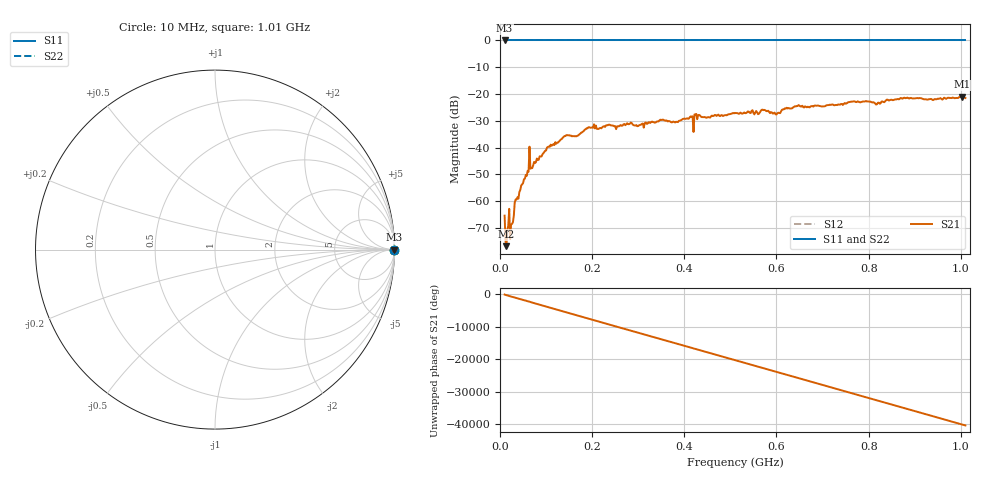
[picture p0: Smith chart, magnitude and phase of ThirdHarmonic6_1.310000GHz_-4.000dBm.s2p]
! 8/16/2025 2:28:42 PM
! C:\ANRITSUVNA\TEMP\TEMP.S2P
! CHANNEL.1
! TR.MEASUREMENT
! RAW.DATA
! RF.CORRECTION.OFF
! AVERAGING.OFF
! IF.BANDWIDTH: 5KHZ
! SWEEPTYPE:  FREQ.SWEEP(Linear)
! Reference Plane Port Info
! PORT:  PORT1  PORT2
! DISTANCE:  0  m  0  m
! TIME:  0  s  0  s
! PHASE.OFFSET:  0  deg.  0  deg.
! LOSS:  0  dB  0  dB
! REF.LOSS:  0  dB  0  dB
! REF.FREQ:  0  Hz  0  Hz
! Power Info
! POWER:  -20  dBm  -20  dBm
! EFF.POWER:  -20  dBm  -20  dBm
! SOURCE.ATTEN:  0  dB  0  dB
! TEST.ATTEN:  0  dB  0  dB
# GHZ S RI R 50.0
! FREQ.GHZ  S11RE  S11IM  S21RE  S21IM  S12RE  S12IM  S22RE  S22IM
!; PortSelection: Port_12
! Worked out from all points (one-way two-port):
!   501 points, 10 MHz to 1.01 GHz, reference 50 ohm
!   highest |S21| = -20.99 dB at 1.002 GHz (marker M1); lowest = -76.7 dB at 14 MHz (marker M2)
!   lowest |S11| = 0.0 dB at 10 MHz (marker M3)
!   |S11| at or under -10 dB: nowhere
!   |S22| runs from 0.0 to 0.0 dB; largest |S21 - S12| = 1.1
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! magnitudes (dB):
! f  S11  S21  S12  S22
! 10 MHz  0.0  -65.4  0.0  0.0
! 14 MHz  0.0  -76.7  0.0  0.0
! 26 MHz  0.0  -68.4  0.0  0.0
! 36 MHz  0.0  -59.3  0.0  0.0
! 64 MHz  0.0  -39.6  0.0  0.0
! 70 MHz  0.0  -47.6  0.0  0.0
! 106 MHz  0.0  -39.6  0.0  0.0
! 140 MHz  0.0  -35.7  0.0  0.0
! 178 MHz  0.0  -34.3  0.0  0.0
! 204 MHz  0.0  -31.3  0.0  0.0
! 344 MHz  0.0  -30.2  0.0  0.0
! 382 MHz  0.0  -30.3  0.0  0.0
! 424 MHz  0.0  -27.6  0.0  0.0
! 426 MHz  0.0  -27.4  0.0  0.0
! 510 MHz  0.0  -27.0  0.0  0.0
! 572 MHz  0.0  -26.0  0.0  0.0
! 602 MHz  0.0  -27.1  0.0  0.0
! 644 MHz  0.0  -24.5  0.0  0.0
! 678 MHz  0.0  -24.5  0.0  0.0
! 844 MHz  0.0  -22.4  0.0  0.0
! 1.002 GHz  0.0  -21.0  0.0  0.0
! 1.01 GHz  0.0  -21.5  0.0  0.0
